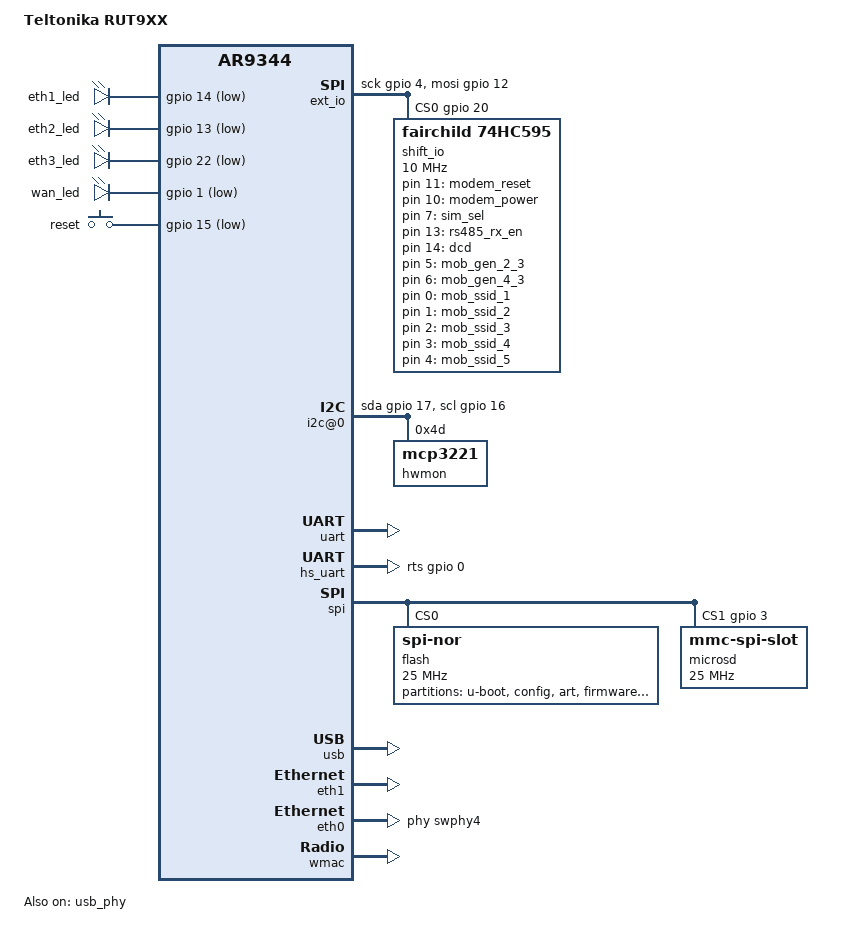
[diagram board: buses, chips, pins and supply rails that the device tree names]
// SPDX-License-Identifier: GPL-2.0-or-later OR MIT
/dts-v1/;

#include <dt-bindings/gpio/gpio.h>
#include <dt-bindings/input/input.h>
#include "ar9344.dtsi"
#include "platform_name.dtsi"

/ {
	compatible = "teltonika,rut9xx", "qca,ar9344";
	model = "Teltonika RUT9XX";

	aliases {
		serial0 = &uart;
		serial1 = &hs_uart;
	};

	ext_io {
		compatible = "spi-gpio";
		#address-cells = <1>;
		#size-cells = <0>;
		pinctrl-names = "default";
		pinctrl-0 = <&pmx_spi_ext>;

		gpio-sck = <&gpio 4 GPIO_ACTIVE_HIGH>;   // SRCLK
		gpio-mosi = <&gpio 12 GPIO_ACTIVE_HIGH>; // SER
		cs-gpios = <&gpio 20 GPIO_ACTIVE_HIGH>;  // RCLK
		num-chipselects = <1>;

		shift_io: shift_io@0 {
			compatible = "fairchild,74hc595";
			reg = <0>;
			gpio-controller;
			#gpio-cells = <2>;
			registers-number = <2>;
			spi-max-frequency = <10000000>;
		};
	};

	gpio-export {
		compatible = "gpio-export";
		#size-cells = <0>;

		gpio_modem_reset {
			gpio-export,name = "modem_reset";
			gpio-export,output = <0>;
			gpios = <&shift_io 11 GPIO_ACTIVE_HIGH>;
		};

		gpio_modem_power {
			gpio-export,name = "modem_power";
			gpio-export,output = <0>;
			gpios = <&shift_io 10 GPIO_ACTIVE_HIGH>;
		};

		gpio_sim_select {
			gpio-export,name = "sim_sel";
			gpio-export,output = <1>;
			gpios = <&shift_io 7 GPIO_ACTIVE_HIGH>;
		};

		gpio_rs485_rx_en {
			gpio-export,name = "rs485_rx_en";
			gpio-export,output = <0>;
			gpios = <&shift_io 13 GPIO_ACTIVE_HIGH>;
		};

		gpio_dcd {
			gpio-export,name = "dcd";
			gpio-export,output = <0>;
			gpios = <&shift_io 14 GPIO_ACTIVE_HIGH>;
		};
	};

	leds {
		compatible = "gpio-leds";

		eth1_led {
			label = "eth1_led";
			gpios = <&gpio 14 GPIO_ACTIVE_LOW>;
		};

		eth2_led {
			label = "eth2_led";
			gpios = <&gpio 13 GPIO_ACTIVE_LOW>;
		};

		eth3_led {
			label = "eth3_led";
			gpios = <&gpio 22 GPIO_ACTIVE_LOW>;
		};

		wan_led {
			label = "wan_led";
			gpios = <&gpio 1 GPIO_ACTIVE_LOW>;
		};

		led_gen_2_3 {
			label = "mob_gen_2_3";
			gpios = <&shift_io 5 GPIO_ACTIVE_HIGH>;
		};

		led_gen_4_3 {
			label = "mob_gen_4_3";
			gpios = <&shift_io 6 GPIO_ACTIVE_HIGH>;
		};

		led_ssid_1 {
			label = "mob_ssid_1";
			gpios = <&shift_io 0 GPIO_ACTIVE_HIGH>;
			linux,default-trigger = "timer";
		};

		led_ssid_2 {
			label = "mob_ssid_2";
			gpios = <&shift_io 1 GPIO_ACTIVE_HIGH>;
			linux,default-trigger = "timer";
		};

		led_ssid_3 {
			label = "mob_ssid_3";
			gpios = <&shift_io 2 GPIO_ACTIVE_HIGH>;
			linux,default-trigger = "timer";
		};

		led_ssid_4 {
			label = "mob_ssid_4";
			gpios = <&shift_io 3 GPIO_ACTIVE_HIGH>;
			linux,default-trigger = "timer";
		};

		led_ssid_5 {
			label = "mob_ssid_5";
			gpios = <&shift_io 4 GPIO_ACTIVE_HIGH>;
			linux,default-trigger = "timer";
		};
	};

	i2c@0 {
		compatible = "i2c-gpio";
		gpios = <&gpio 17 GPIO_ACTIVE_HIGH   // SDA
		         &gpio 16 GPIO_ACTIVE_HIGH>; // SCL
		i2c-gpio,delay-us = <10>;
		#address-cells = <1>;
		#size-cells = <0>;

		hwmon@4d {
			compatible = "mcp3221";
			reg = <0x4d>;
			reference-voltage-microvolt = <3300000>;
			scan-for-address;
		};
	};

	keys {
		compatible = "gpio-keys";

		reset {
			label = "reset";
			linux,code = <KEY_RESTART>;
			gpios = <&gpio 15 GPIO_ACTIVE_LOW>;
			debounce-interval = <60>;
		};
	};
};

&ref {
	clock-frequency = <40000000>;
};

&uart {
	status = "okay";
};

&hs_uart {
	status = "okay";
	pinctrl-names = "default";
	pinctrl-0 = <&pmx_uart2>;
	linux,rs485-enabled-at-boot-time;
	rs485-rx-during-tx;
	mtd-config= <0x10 0x40>; // device code, batch version
	rts-gpios = <&gpio 0 GPIO_ACTIVE_HIGH>;

};

&spi {
	cs-gpios = <0>, <&gpio 3 GPIO_ACTIVE_HIGH>;  // dummy, mmc CS

	status = "okay";
	flash@0 {
		compatible = "jedec,spi-nor";
		reg = <0>;
		spi-max-frequency = <25000000>;

		partitions {
			compatible = "fixed-partitions";
			#address-cells = <1>;
			#size-cells = <1>;

			partition@0 {
				label = "u-boot";
				reg = <0x000000 0x020000>;
				read-only;
			};

			config: partition@20000 {
				label = "config";
				reg = <0x020000 0x010000>;
				read-only;
			};

			art: partition@30000 {
				label = "art";
				reg = <0x030000 0x010000>;
				read-only;
			};

			partition@40000 {
				label = "firmware";
				reg = <0x040000 0xf30000>;
				compatible = "tplink,firmware";
			};

			partition@f70000 {
				label = "event-log";
				reg = <0xf70000 0x090000>;
			};
		};
	};

	microsd@1 {
		status = "okay";
		compatible = "mmc-spi-slot";
		spi-max-frequency = <25000000>;
		reg = <1>;
		voltage-ranges = <3200 3400>;
		non-removable;
		disable-wp;
		no-sdio;
		no-mmc;
	};
};

&usb {
	#address-cells = <1>;
	#size-cells = <0>;
	status = "okay";

	hub_port0: port@1 {
		reg = <1>;
		#trigger-source-cells = <0>;
	};
};

&usb_phy {
	status = "okay";
};

&eth1 {
	status = "okay";
	mtd-mac-address = <&config 0x0>;
};

&eth0 {
	status = "okay";
	phy-handle = <&swphy4>;
	mtd-mac-address = <&config 0x0>;
	mtd-mac-address-increment = <1>;
};

&wmac {
	status = "okay";
	mtd-cal-data = <&art 0x1000>;
	mtd-mac-address = <&config 0x0>;
	mtd-mac-address-increment = <2>;
};

&pinmux {
	pmx_uart2: uart2 {
		pinctrl-single,bits = <0x10 0x004f0000 0x00ff0000>, // GPIO_OUT_FUNCTION4 UART1_TD 	GPIO_18
		                      <0x3c 0x000b0000 0x00ff0000>, // GPIO_IN_ENABLE9    UART1_RD GPIO_11
							  <0x00 0x00000000 0x000000ff>; // GPIO_OUT_GUNCTION0 OUT 		GPIO_00
	};

	pmx_spi_ext: spi_ext {
		pinctrl-single,bits = <0x4 0x00 0xFF>,  // SRCLK
		                      <0xc 0x00 0xFF>,  // SER
		                      <0x14 0x00 0xFF>; // RCLK
	};
};
